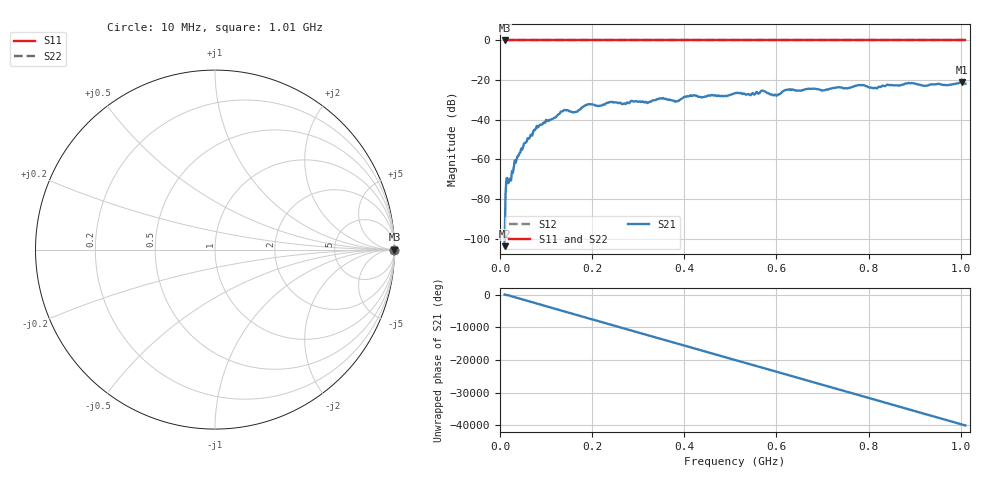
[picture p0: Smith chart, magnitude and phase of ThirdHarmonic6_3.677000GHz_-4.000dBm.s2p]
! 8/17/2025 12:26:26 PM
! C:\ANRITSUVNA\TEMP\TEMP.S2P
! CHANNEL.1
! TR.MEASUREMENT
! RAW.DATA
! RF.CORRECTION.OFF
! AVERAGING.OFF
! IF.BANDWIDTH: 5KHZ
! SWEEPTYPE:  FREQ.SWEEP(Linear)
! Reference Plane Port Info
! PORT:  PORT1  PORT2
! DISTANCE:  0  m  0  m
! TIME:  0  s  0  s
! PHASE.OFFSET:  0  deg.  0  deg.
! LOSS:  0  dB  0  dB
! REF.LOSS:  0  dB  0  dB
! REF.FREQ:  0  Hz  0  Hz
! Power Info
! POWER:  -20  dBm  -20  dBm
! EFF.POWER:  -20  dBm  -20  dBm
! SOURCE.ATTEN:  0  dB  0  dB
! TEST.ATTEN:  0  dB  0  dB
# GHZ S RI R 50.0
! FREQ.GHZ  S11RE  S11IM  S21RE  S21IM  S12RE  S12IM  S22RE  S22IM
!; PortSelection: Port_12
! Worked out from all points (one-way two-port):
!   501 points, 10 MHz to 1.01 GHz, reference 50 ohm
!   highest |S21| = -21.20 dB at 1.002 GHz (marker M1); lowest = -103.7 dB at 10 MHz (marker M2)
!   lowest |S11| = 0.0 dB at 10 MHz (marker M3)
!   |S11| at or under -10 dB: nowhere
!   |S22| runs from 0.0 to 0.0 dB; largest |S21 - S12| = 1.1
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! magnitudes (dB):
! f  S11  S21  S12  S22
! 10 MHz  0.0  -103.7  0.0  0.0
! 18 MHz  0.0  -72.0  0.0  0.0
! 24 MHz  0.0  -70.6  0.0  0.0
! 36 MHz  0.0  -60.1  0.0  0.0
! 76 MHz  0.0  -45.2  0.0  0.0
! 136 MHz  0.0  -35.7  0.0  0.0
! 164 MHz  0.0  -36.0  0.0  0.0
! 178 MHz  0.0  -33.7  0.0  0.0
! 192 MHz  0.0  -32.1  0.0  0.0
! 322 MHz  0.0  -31.2  0.0  0.0
! 344 MHz  0.0  -29.6  0.0  0.0
! 384 MHz  0.0  -30.7  0.0  0.0
! 410 MHz  0.0  -28.2  0.0  0.0
! 510 MHz  0.0  -26.5  0.0  0.0
! 542 MHz  0.0  -27.4  0.0  0.0
! 570 MHz  0.0  -25.3  0.0  0.0
! 598 MHz  0.0  -27.5  0.0  0.0
! 622 MHz  0.0  -24.9  0.0  0.0
! 678 MHz  0.0  -24.4  0.0  0.0
! 844 MHz  0.0  -22.5  0.0  0.0
! 1.002 GHz  0.0  -21.2  0.0  0.0
! 1.01 GHz  0.0  -21.8  0.0  0.0
